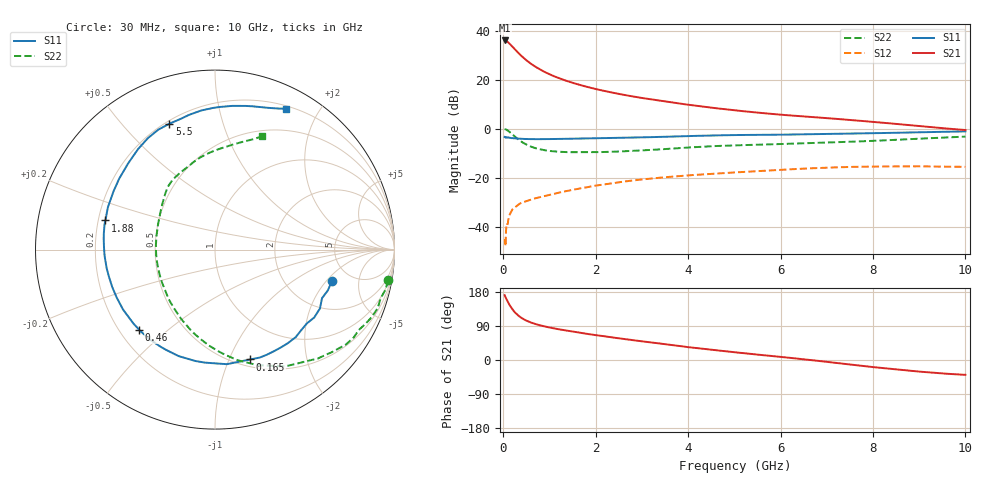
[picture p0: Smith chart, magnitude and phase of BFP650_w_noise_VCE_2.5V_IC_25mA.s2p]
! Infineon Technologies  Discrete & RF Semiconductors
! BFP650
! VCE =  2.5 V,  IC =  25 mA
! Common Emitter S-Parameters:  Jan 2016
# GHz  S  MA  R  50
!  f  S11  S21  S12  S22
! GHz  MAG  ANG  MAG  ANG  MAG  ANG  MAG  ANG
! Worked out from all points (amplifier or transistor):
!   229 points, 30 MHz to 10 GHz, reference 50 ohm
!   highest |S21| = 36.0 dB at 40 MHz (marker M1)
!   |S21| within 3 dB of that: start of sweep to 222.9 MHz
!   unconditionally stable (mu >= 1): 2.45 GHz to end of sweep
!   at 280 MHz: K = 0.27, MSG = 31.8 dB, |S12| = -31.7 dB
!   at 1.78 GHz: K = 0.93, MSG = 20.6 dB, |S12| = -24.0 dB
!   at 10 GHz: K = 1.04, MAG = 6.3 dB, |S12| = -15.6 dB
!   lowest NFmin = 0.71 dB at 450 MHz
!   S11 on the Smith chart (normalised r, x): 30 MHz: 3.61, -2.30; 165 MHz: 0.57, -1.20; 460 MHz: 0.28, -0.40; 1.88 GHz: 0.23, +0.12; 5.5 GHz: 0.21, +0.68; 10 GHz: 0.23, +1.59
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0.03  0.6752 -14.9  62.76 171.2  0.005 68.2  0.9811 -10.1
0.04  0.6685 -19.9  62.76 168.3  0.0054 77.1  0.9748 -13.4
0.07  0.6698 -34.4  60.79 160.5  0.0103 83.5  0.951 -23.3
0.1  0.6634 -47.3  58.15 153.2  0.0115 71.3  0.9148 -32.4
0.13  0.6543 -60.2  54.61 146.4  0.0162 64.6  0.8648 -41.5
0.165  0.6426 -72.3  50.64 140.0  0.0196 61.9  0.8091 -49.9
0.2  0.6418 -84.1  46.89 133.3  0.0225 61.3  0.76 -58.8
0.24  0.6322 -95.0  42.69 127.4  0.0241 54.1  0.7012 -67.1
0.3  0.627 -108.9  37.14 119.9  0.0267 50.6  0.6293 -78.4
0.36  0.6202 -119.5  32.53 114.0  0.0295 46.4  0.5697 -87.6
0.46  0.6148 -133.4  26.69 106.4  0.0321 43.9  0.4958 -100.9
0.6  0.6116 -147.0  21 98.8  0.0356 42.6  0.4292 -116.2
0.9  0.6096 -164.9  14.22 88.5  0.0421 43.0  0.361 -140.0
1.28  0.6173 -179.2  10.05 79.4  0.0512 42.6  0.3343 -160.4
1.7  0.6281 169.3  7.574 71.1  0.0615 42.0  0.3288 -176.9
1.88  0.6317 165.1  6.837 67.8  0.0659 41.3  0.3295 177.4
3.4  0.677 136.9  3.693 43.3  0.0998 30.4  0.3769 142.7
5.1  0.74 114.2  2.31 19.3  0.1291 16.1  0.4581 119.8
5.5  0.746 109.9  2.117 14.2  0.1358 12.8  0.469 114.9
6.8  0.7724 97.7  1.689 -2.1  0.1569 0.6  0.5128 100.8
8.4  0.8186 77.9  1.271 -23.6  0.1692 -16.2  0.584 82.3
10  0.8779 63.4  0.934 -39.2  0.1662 -28.3  0.685 67.5
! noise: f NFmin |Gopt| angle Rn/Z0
0.45  0.71  0.07  109  2.2
0.9  0.73  0.24  -178  0.13
1.9  0.89  0.31  -164  0.05
2.4  0.97  0.32  -150  0.06
3.5  1.21  0.37  -125  0.13
